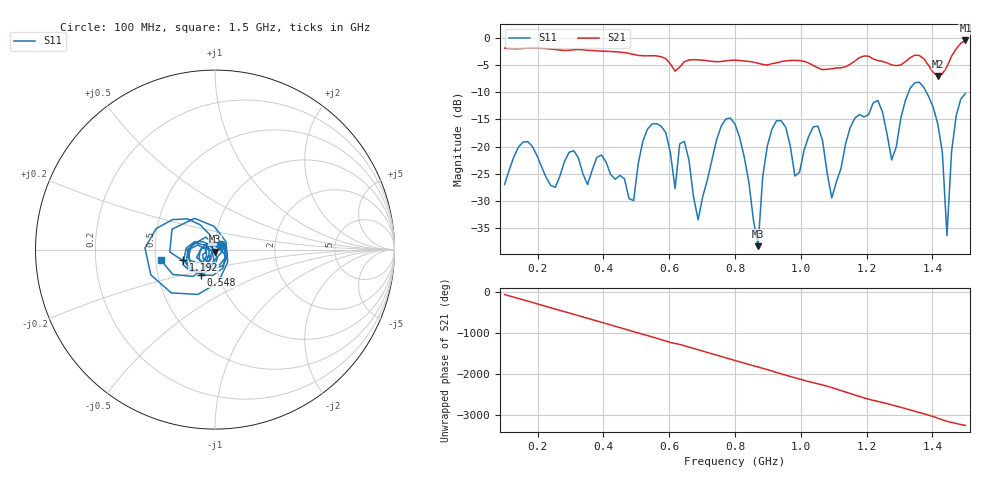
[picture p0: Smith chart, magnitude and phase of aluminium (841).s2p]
! NanoVNA-App
! Date: 2025-09-25 15:01:50
! Start: 100MHz Stop: 1,5GHz Points: 101
! S-Parameter data: F S11 S21 S12 S22
# Hz S RI R 50
!  Frequency  S11_Real  S11_Imag  S21_Real  S21_Imag  S12_Real  S12_Imag  S22_Real  S22_Imag
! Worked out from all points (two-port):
!   101 points, 100 MHz to 1.5 GHz, reference 50 ohm
!   highest |S21| = -0.51 dB at 1.5 GHz (marker M1); lowest = -7.0 dB at 1.416 GHz (marker M2)
!   |S21| within 3 dB of the highest: start of sweep to 575.9 MHz; 1.457 GHz to end of sweep (the widest 2 of 4)
!   lowest |S11| = -38.3 dB at 870 MHz (marker M3), VSWR 1.02, Z = 50 - j1.22 ohm
!   |S11| at or under -10 dB: start of sweep to 1.328 GHz; 1.381 GHz to end of sweep
!   S12 and S22 are empty: the file has one direction only
!   S11 on the Smith chart (normalised r, x): 100 MHz: 1.07, +0.06; 548 MHz: 0.82, -0.24; 1.192 GHz: 0.69, -0.08; 1.5 GHz: 0.53, -0.07
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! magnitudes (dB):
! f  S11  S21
! 100 MHz  -27.0  -1.9
! 156 MHz  -19.2  -2.0
! 338 MHz  -25.0  -2.2
! 492 MHz  -29.9  -3.1
! 548 MHz  -15.9  -3.3
! 576 MHz  -16.3  -3.5
! 618 MHz  -27.7  -6.2
! 646 MHz  -19.1  -4.4
! 688 MHz  -33.4  -4.1
! 800 MHz  -15.9  -4.1
! 870 MHz  -38.3  -4.7
! 912 MHz  -16.8  -4.8
! 982 MHz  -25.4  -4.2
! 1.038 GHz  -16.4  -5.1
! 1.094 GHz  -29.4  -5.7
! 1.192 GHz  -14.6  -3.4
! 1.276 GHz  -22.5  -5.0
! 1.346 GHz  -8.3  -3.2
! 1.416 GHz  -15.8  -7.0
! 1.444 GHz  -36.4  -5.3
! 1.472 GHz  -14.3  -2.1
! 1.5 GHz  -10.2  -0.5
